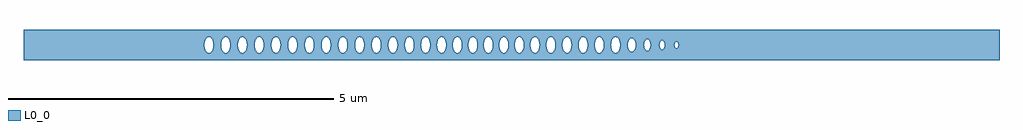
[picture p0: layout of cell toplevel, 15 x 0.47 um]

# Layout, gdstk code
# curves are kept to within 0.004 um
import gdstk
lib = gdstk.Library(unit=1e-6, precision=1e-09)
def P(c, l, *ps):  # polygons
    for p in ps: c.add(gdstk.Polygon(p, *l))
L0_0 = (0, 0)

toplevel = lib.new_cell('toplevel')
P(toplevel, L0_0, [(-4.205,0.016),(-4.187,0.085),(-4.187,0.235),(-7.5,0.235),(-7.5,-0.016),(-4.72,-0.016),(-4.717,0.038),(-4.707,0.073),(-4.684,0.109),(-4.654,0.124),(-4.628,0.118),(-4.599,0.085),(-4.584,0.046),(-4.58,-0.016),(-4.463,-0.016),(-4.46,0.038),(-4.45,0.073),(-4.427,0.109),(-4.397,0.124),(-4.371,0.118),(-4.344,0.09),(-4.327,0.046),(-4.322,0.008),(-4.324,-0.031),(-4.338,-0.079),(-4.359,-0.109),(-4.388,-0.124),(-4.414,-0.118),(-4.438,-0.096),(-4.45,-0.073),(-4.463,-0.016),(-4.58,-0.016),(-4.588,-0.06),(-4.605,-0.096),(-4.628,-0.118),(-4.645,-0.124),(-4.672,-0.118),(-4.695,-0.096),(-4.712,-0.06),(-4.72,-0.016),(-7.5,-0.016),(-7.5,-0.235),(-4.187,-0.235),(-4.187,-0.085),(-4.204,-0.031)],
  [(-3.69,0.023),(-3.678,0.073),(-3.666,0.096),(-3.634,0.122),(-3.607,0.122),(-3.607,0.235),(-4.187,0.235),(-4.187,0.085),(-4.169,0.109),(-4.148,0.122),(-4.122,0.122),(-4.101,0.109),(-4.074,0.06),(-4.065,-0.016),(-3.948,-0.016),(-3.945,0.038),(-3.935,0.073),(-3.912,0.109),(-3.882,0.124),(-3.856,0.118),(-3.833,0.096),(-3.812,0.046),(-3.807,0),(-3.812,-0.046),(-3.827,-0.085),(-3.844,-0.109),(-3.869,-0.123),(-3.9,-0.118),(-3.923,-0.096),(-3.94,-0.06),(-3.948,-0.016),(-4.065,-0.016),(-4.084,-0.085),(-4.101,-0.109),(-4.122,-0.122),(-4.14,-0.124),(-4.157,-0.118),(-4.187,-0.085),(-4.187,-0.235),(-3.607,-0.235),(-3.607,-0.122),(-3.634,-0.122),(-3.666,-0.096),(-3.688,-0.038)],
  [(-3.551,-0.023),(-3.569,-0.085),(-3.587,-0.109),(-3.607,-0.122),(-3.607,-0.235),(-3.044,-0.235),(-3.044,-0.061),(-3.072,-0.109),(-3.093,-0.122),(-3.119,-0.122),(-3.14,-0.109),(-3.157,-0.085),(-3.17,-0.053),(-3.176,-0.016),(-3.168,0.06),(-3.151,0.096),(-3.128,0.118),(-3.11,0.124),(-3.084,0.118),(-3.061,0.096),(-3.044,0.06),(-3.044,0.235),(-3.607,0.235),(-3.607,0.122),(-3.583,0.105),(-3.566,0.079),(-3.552,0.031),(-3.55,-0.008),(-3.434,-0.008),(-3.432,0.031),(-3.418,0.079),(-3.397,0.109),(-3.368,0.124),(-3.342,0.118),(-3.318,0.096),(-3.296,0.038),(-3.293,-0.016),(-3.306,-0.073),(-3.329,-0.109),(-3.354,-0.123),(-3.377,-0.122),(-3.408,-0.096),(-3.425,-0.06),(-3.434,-0.008),(-3.55,-0.008)],
  [(-2.393,-0.235),(-2.393,-0.066),(-2.404,-0.016),(-2.4,0.046),(-2.393,0.066),(-2.393,0.235),(-3.044,0.235),(-3.044,0.06),(-3.036,-0.016),(-2.919,-0.016),(-2.916,0.038),(-2.906,0.073),(-2.883,0.109),(-2.853,0.124),(-2.827,0.118),(-2.797,0.085),(-2.783,0.046),(-2.778,-0.008),(-2.662,-0.008),(-2.66,0.031),(-2.646,0.079),(-2.625,0.109),(-2.596,0.124),(-2.57,0.118),(-2.546,0.096),(-2.534,0.073),(-2.521,0.016),(-2.524,-0.038),(-2.534,-0.073),(-2.557,-0.109),(-2.587,-0.124),(-2.613,-0.118),(-2.64,-0.09),(-2.657,-0.046),(-2.662,-0.008),(-2.778,-0.008),(-2.783,-0.046),(-2.797,-0.085),(-2.815,-0.109),(-2.844,-0.124),(-2.87,-0.118),(-2.894,-0.096),(-2.906,-0.073),(-2.919,-0.016),(-3.036,-0.016),(-3.044,-0.06),(-3.044,-0.235)],
  [(-2.385,0.085),(-2.356,0.118),(-2.321,0.122),(-2.296,0.105),(-2.277,0.073),(-2.268,0.046),(-2.264,0),(-2.148,0),(-2.143,0.046),(-2.122,0.096),(-2.095,0.12),(-2.064,0.122),(-2.039,0.105),(-2.02,0.073),(-2.01,0.038),(-2.007,-0.016),(-2.015,-0.06),(-2.032,-0.096),(-2.055,-0.118),(-2.073,-0.124),(-2.099,-0.118),(-2.122,-0.096),(-2.143,-0.046),(-2.148,0),(-2.264,0),(-2.268,-0.046),(-2.277,-0.073),(-2.296,-0.105),(-2.321,-0.122),(-2.347,-0.122),(-2.368,-0.109),(-2.393,-0.067),(-2.393,-0.235),(-1.826,-0.235),(-1.826,-0.124),(-1.844,-0.118),(-1.867,-0.096),(-1.884,-0.06),(-1.892,-0.016),(-1.889,0.038),(-1.879,0.073),(-1.856,0.109),(-1.826,0.124),(-1.826,0.235),(-2.393,0.235),(-2.393,0.066)],
  [(-1.39,0.016),(-1.377,0.073),(-1.362,0.1),(-1.342,0.118),(-1.325,0.124),(-1.307,0.122),(-1.286,0.109),(-1.272,0.09),(-1.272,0.235),(-1.826,0.235),(-1.826,0.124),(-1.8,0.118),(-1.77,0.085),(-1.756,0.046),(-1.751,-0.008),(-1.64,-0.008),(-1.635,0.046),(-1.624,0.079),(-1.603,0.109),(-1.574,0.124),(-1.547,0.118),(-1.524,0.096),(-1.507,0.06),(-1.499,0.016),(-1.502,-0.038),(-1.512,-0.073),(-1.535,-0.109),(-1.565,-0.124),(-1.591,-0.118),(-1.614,-0.096),(-1.631,-0.06),(-1.64,-0.008),(-1.751,-0.008),(-1.76,-0.06),(-1.777,-0.096),(-1.8,-0.118),(-1.826,-0.124),(-1.826,-0.235),(-1.272,-0.235),(-1.272,-0.09),(-1.286,-0.109),(-1.311,-0.123),(-1.333,-0.122),(-1.354,-0.109),(-1.382,-0.06)],
  [(-1.272,0.235),(-1.272,0.09),(-1.256,0.053),(-1.25,-0.016),(-1.145,-0.016),(-1.142,0.038),(-1.132,0.073),(-1.109,0.109),(-1.079,0.124),(-1.053,0.118),(-1.023,0.085),(-1.006,0.031),(-1.005,-0.016),(-0.903,-0.016),(-0.9,0.038),(-0.89,0.073),(-0.867,0.109),(-0.837,0.124),(-0.811,0.118),(-0.784,0.09),(-0.767,0.046),(-0.762,0.008),(-0.764,-0.031),(-0.778,-0.079),(-0.799,-0.109),(-0.828,-0.124),(-0.854,-0.118),(-0.878,-0.096),(-0.89,-0.073),(-0.903,-0.016),(-1.005,-0.016),(-1.009,-0.046),(-1.026,-0.09),(-1.041,-0.109),(-1.07,-0.124),(-1.096,-0.118),(-1.12,-0.096),(-1.132,-0.073),(-1.145,-0.016),(-1.25,-0.016),(-1.258,-0.06),(-1.272,-0.09),(-1.272,-0.235),(-0.664,-0.235),(-0.664,0.235)],
  [(-0.663,0.023),(-0.653,0.066),(-0.638,0.096),(-0.615,0.118),(-0.589,0.124),(-0.563,0.112),(-0.536,0.073),(-0.525,0.031),(-0.524,-0.016),(-0.426,-0.016),(-0.42,0.053),(-0.401,0.096),(-0.369,0.122),(-0.351,0.124),(-0.334,0.118),(-0.304,0.085),(-0.286,0.016),(-0.29,-0.046),(-0.304,-0.085),(-0.318,-0.105),(-0.351,-0.124),(-0.369,-0.122),(-0.39,-0.109),(-0.413,-0.073),(-0.426,-0.016),(-0.524,-0.016),(-0.536,-0.073),(-0.552,-0.1),(-0.58,-0.122),(-0.607,-0.122),(-0.627,-0.109),(-0.645,-0.085),(-0.659,-0.046),(-0.664,-0.008),(-0.664,-0.235),(-0.164,-0.235),(-0.164,-0.096),(-0.176,-0.073),(-0.189,-0.016),(-0.186,0.038),(-0.164,0.096),(-0.164,0.235),(-0.664,0.235)],
  [(-0.156,0.105),(-0.123,0.124),(-0.105,0.122),(-0.081,0.105),(-0.057,0.06),(-0.048,-0.008),(0.049,-0.008),(0.052,0.038),(0.071,0.09),(0.098,0.118),(0.115,0.124),(0.133,0.122),(0.157,0.105),(0.174,0.079),(0.188,0.031),(0.19,-0.008),(0.185,-0.046),(0.171,-0.085),(0.153,-0.109),(0.124,-0.124),(0.098,-0.118),(0.071,-0.09),(0.054,-0.046),(0.049,-0.008),(-0.048,-0.008),(-0.059,-0.066),(-0.085,-0.109),(-0.105,-0.122),(-0.123,-0.124),(-0.145,-0.115),(-0.164,-0.096),(-0.164,-0.235),(0.382,-0.235),(0.382,-0.118),(0.356,-0.124),(0.326,-0.109),(0.303,-0.073),(0.29,-0.016),(0.293,0.038),(0.315,0.096),(0.347,0.122),(0.365,0.124),(0.382,0.118),(0.382,0.235),(-0.164,0.235),(-0.164,0.096)],
  [(0.783,0.016),(0.787,0.046),(0.804,0.09),(0.822,0.112),(0.848,0.124),(0.866,0.122),(0.89,0.105),(0.907,0.079),(0.919,0.038),(0.919,0.235),(0.382,0.235),(0.382,0.118),(0.405,0.096),(0.42,0.066),(0.43,0.023),(0.43,-0.016),(0.535,-0.016),(0.538,0.038),(0.548,0.073),(0.571,0.109),(0.601,0.124),(0.627,0.118),(0.65,0.096),(0.667,0.06),(0.675,0.016),(0.671,-0.046),(0.662,-0.073),(0.639,-0.109),(0.609,-0.124),(0.583,-0.118),(0.56,-0.096),(0.543,-0.06),(0.535,-0.016),(0.43,-0.016),(0.415,-0.079),(0.382,-0.118),(0.382,-0.235),(0.919,-0.235),(0.919,-0.04),(0.907,-0.079),(0.89,-0.105),(0.866,-0.122),(0.839,-0.122),(0.815,-0.105),(0.795,-0.073),(0.784,-0.031)],
  [(1.534,-0.235),(1.534,-0.046),(1.529,0),(1.534,0.043),(1.534,0.235),(0.919,0.235),(0.923,-0.008),(1.03,-0.008),(1.035,0.046),(1.046,0.079),(1.067,0.109),(1.096,0.124),(1.123,0.118),(1.152,0.085),(1.168,0.038),(1.171,-0.016),(1.279,-0.016),(1.282,0.038),(1.292,0.073),(1.315,0.109),(1.345,0.124),(1.371,0.118),(1.394,0.096),(1.415,0.046),(1.42,0),(1.415,-0.046),(1.4,-0.085),(1.383,-0.109),(1.354,-0.124),(1.327,-0.118),(1.304,-0.096),(1.287,-0.06),(1.279,-0.016),(1.171,-0.016),(1.163,-0.06),(1.146,-0.096),(1.123,-0.118),(1.096,-0.124),(1.067,-0.109),(1.049,-0.085),(1.035,-0.046),(1.03,-0.008),(0.923,-0.008),(0.919,-0.235)],
  [(2.037,0.011),(2.052,0.065),(2.077,0.088),(2.077,0.235),(1.534,0.235),(1.534,0.046),(1.562,0.105),(1.587,0.122),(1.609,0.123),(1.638,0.105),(1.657,0.073),(1.667,0.038),(1.67,-0.007),(1.788,-0.007),(1.792,0.039),(1.804,0.073),(1.826,0.099),(1.849,0.107),(1.871,0.099),(1.89,0.078),(1.909,0.013),(1.898,-0.063),(1.881,-0.09),(1.856,-0.106),(1.826,-0.099),(1.807,-0.078),(1.792,-0.039),(1.788,-0.007),(1.67,-0.007),(1.664,-0.053),(1.645,-0.096),(1.622,-0.118),(1.604,-0.124),(1.582,-0.12),(1.562,-0.105),(1.534,-0.046),(1.534,-0.235),(2.077,-0.235),(2.077,-0.088),(2.057,-0.072),(2.044,-0.048)],
  [(2.084,0.089),(2.103,0.085),(2.122,0.065),(2.133,0.038),(2.137,-0.009),(2.274,-0.009),(2.283,0.046),(2.297,0.065),(2.312,0.072),(2.33,0.067),(2.343,0.052),(2.354,0.022),(2.355,-0.007),(2.505,-0.007),(2.512,0.035),(2.532,0.054),(2.544,0.053),(2.556,0.042),(2.567,-0.007),(2.556,-0.042),(2.54,-0.054),(2.528,-0.053),(2.516,-0.042),(2.505,-0.007),(2.355,-0.007),(2.343,-0.052),(2.317,-0.072),(2.293,-0.061),(2.28,-0.038),(2.274,-0.009),(2.137,-0.009),(2.13,-0.048),(2.117,-0.072),(2.096,-0.088),(2.077,-0.088),(2.077,-0.235),(7.5,-0.235),(7.5,0.235),(2.077,0.235),(2.077,0.088)])

lib.write_gds('toplevel.gds')
